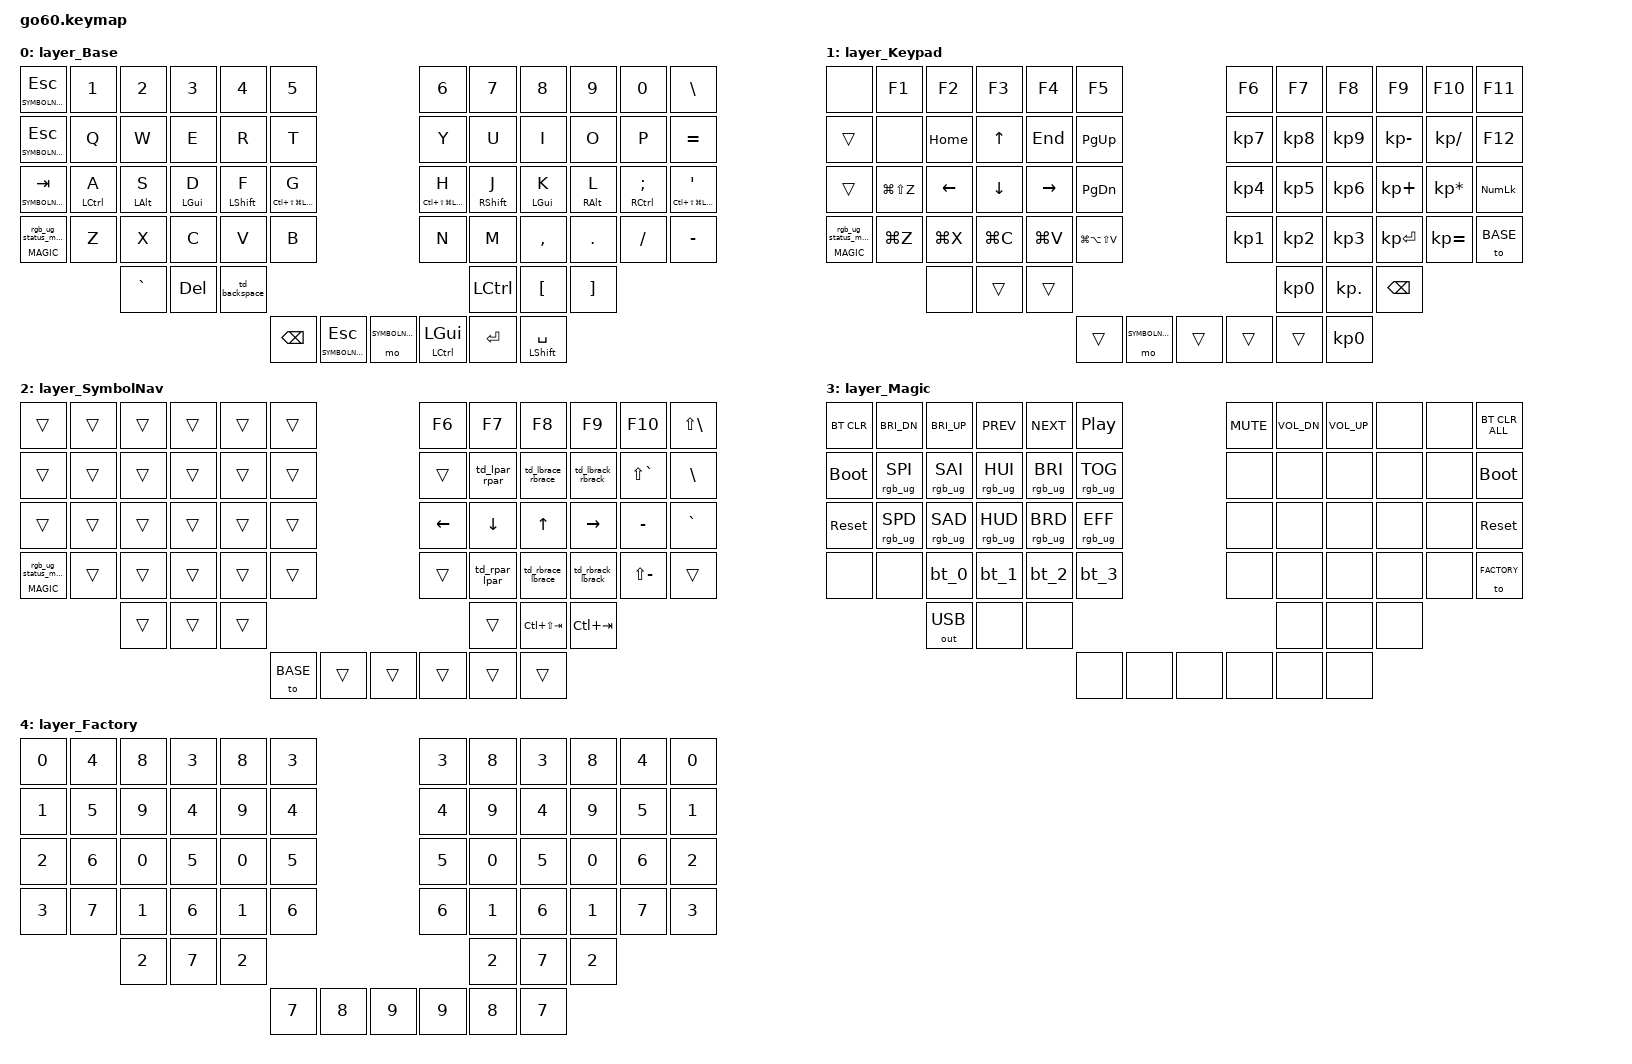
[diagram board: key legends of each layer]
/*
 * Copyright (c) 2020 The ZMK Contributors
 * Copyright (c) 2025 Innaworks Development Limited, trading as MoErgo
 *
 * SPDX-License-Identifier: MIT
 */

/*
 * Go60 Keymap - Adapted from Glove80 configuration
 *
 * Key features:
 * - Home row mods (Miryoku-style)
 * - Tap-dance for brackets
 * - Delete word macro
 * - Integrated trackpad support
 */

#include <behaviors.dtsi>
#include <dt-bindings/zmk/keys.h>
#include <dt-bindings/zmk/bt.h>
#include <dt-bindings/zmk/outputs.h>
#include <dt-bindings/zmk/rgb.h>

#include <input/processors.dtsi>
#include <dt-bindings/zmk/input_transform.h>
#include <zephyr/dt-bindings/input/input-event-codes.h>
#include <dt-bindings/zmk/pointing.h>

#define HYPER LC(LS(LG(LALT)))

// Layers
#define BASE 0
#define KEYPAD 1
#define SYMBOLNAV 2
#define MAGIC 3
#define FACTORY 4

// Timing parameters for home row mods
#define TYPING_STREAK_TERM 175
#define KEY_REPEATING_TERM 300
#define REGISTER_MODS_TERM 280
#define THUMB_TAPPING_TERM 200
#define INDEX_SHIFT_TAPPING_TERM 220
#define PRIOR_IDLE 150

// Go60 Key positions (60 keys)
// Row 1:  0  1  2  3  4  5  |  6  7  8  9 10 11
// Row 2: 12 13 14 15 16 17  | 18 19 20 21 22 23
// Row 3: 24 25 26 27 28 29  | 30 31 32 33 34 35
// Row 4: 36 37 38 39 40 41  | 42 43 44 45 46 47
// Row 5:       48 49 50     |    51 52 53
// Thumbs:         54 55 56  | 57 58 59

#define LEFT_HAND_KEYS      \
     0  1  2  3  4  5       \
    12 13 14 15 16 17       \
    24 25 26 27 28 29       \
    36 37 38 39 40 41       \
          48 49 50

#define RIGHT_HAND_KEYS     \
     6  7  8  9 10 11       \
    18 19 20 21 22 23       \
    30 31 32 33 34 35       \
    42 43 44 45 46 47       \
          51 52 53

#define THUMB_KEYS          \
    54 55 56 57 58 59

/* Helper Macros */
#define ZMK_BEHAVIOR_CORE_tap_dance  \
    compatible = "zmk,behavior-tap-dance"; \
    #binding-cells = <0>

#define ZMK_BEHAVIOR(name, type, ...) \
    name: name { \
        ZMK_BEHAVIOR_CORE_ ## type; \
        __VA_ARGS__ \
    };

#define ZMK_TAP_DANCE(name, ...) \
    ZMK_BEHAVIOR(name, tap_dance, __VA_ARGS__)

#define ZMK_TD_LAYER(name, layer) \
    ZMK_TAP_DANCE(name, \
        tapping-term-ms = <200>; \
        bindings = <&mo layer>, <&to layer>; \
)

/* Input processors for trackpad */
/ {
    input_processors {
        zip_click_to_right_click_mapper: zip_click_to_right_click_mapper {
            compatible = "zmk,input-processor-code-mapper";
            #input-processor-cells = <0>;
            type = <INPUT_EV_KEY>;
            map = <INPUT_BTN_0 INPUT_BTN_1>;
        };
    };
};

/* Trackpad Configuration */
&cirque_rh_listener {
    input-processors = <&zip_xy_scaler 3 1>;
    layer_symbolnav {
        layers = <SYMBOLNAV>;
        input-processors = <&zip_xy_scaler 9 1>;  // 3x faster on nav layer
    };
};

&cirque_lh_listener {
    input-processors = <&zip_xy_to_scroll_mapper>, <&zip_xy_scaler 11 12>, <&zip_click_to_right_click_mapper>, <&zip_scroll_scaler 1 8>, <&zip_scroll_transform (INPUT_TRANSFORM_Y_INVERT)>;
    layer_factory {
        layers = <FACTORY>;
        input-processors = <&zip_xy_scaler 3 1>;  // Pointer mode in factory layer
    };
};

/ {
    behaviors {
        // Home row mods with balanced flavor - LEFT HAND
        homey_left: miryoku_home_row_mods_left_hand {
            compatible = "zmk,behavior-hold-tap";
            label = "HOME_ROW_MODS_LEFT_HAND";
            flavor = "balanced";
            hold-trigger-key-positions = <RIGHT_HAND_KEYS THUMB_KEYS>;
            hold-trigger-on-release;
            tapping-term-ms = <REGISTER_MODS_TERM>;
            quick-tap-ms = <KEY_REPEATING_TERM>;
            require-prior-idle-ms = <PRIOR_IDLE>;
            #binding-cells = <2>;
            bindings = <&kp>, <&kp>;
        };

        // Home row mods with balanced flavor - RIGHT HAND
        homey_right: miryoku_home_row_mods_right_hand {
            compatible = "zmk,behavior-hold-tap";
            label = "HOME_ROW_MODS_RIGHT_HAND";
            flavor = "balanced";
            hold-trigger-key-positions = <LEFT_HAND_KEYS THUMB_KEYS>;
            hold-trigger-on-release;
            tapping-term-ms = <REGISTER_MODS_TERM>;
            quick-tap-ms = <KEY_REPEATING_TERM>;
            require-prior-idle-ms = <PRIOR_IDLE>;
            #binding-cells = <2>;
            bindings = <&kp>, <&kp>;
        };

        // Special handling for index finger shifts - LEFT
        index_left: miryoku_home_row_mods_left_index_shift {
            compatible = "zmk,behavior-hold-tap";
            label = "HOME_ROW_MODS_LEFT_INDEX_SHIFT";
            flavor = "balanced";
            hold-trigger-key-positions = <RIGHT_HAND_KEYS THUMB_KEYS>;
            hold-trigger-on-release;
            tapping-term-ms = <INDEX_SHIFT_TAPPING_TERM>;
            quick-tap-ms = <KEY_REPEATING_TERM>;
            require-prior-idle-ms = <PRIOR_IDLE>;
            #binding-cells = <2>;
            bindings = <&kp>, <&kp>;
        };

        // Special handling for index finger shifts - RIGHT
        index_right: miryoku_home_row_mods_right_index_shift {
            compatible = "zmk,behavior-hold-tap";
            label = "HOME_ROW_MODS_RIGHT_INDEX_SHIFT";
            flavor = "balanced";
            hold-trigger-key-positions = <LEFT_HAND_KEYS THUMB_KEYS>;
            hold-trigger-on-release;
            tapping-term-ms = <INDEX_SHIFT_TAPPING_TERM>;
            quick-tap-ms = <KEY_REPEATING_TERM>;
            require-prior-idle-ms = <PRIOR_IDLE>;
            #binding-cells = <2>;
            bindings = <&kp>, <&kp>;
        };

        // Thumb layer switching with repeat
        thumb: miryoku_thumb_layer {
            compatible = "zmk,behavior-hold-tap";
            label = "MIRYOKU_LAYER_TAP_WITH_REPEAT";
            flavor = "balanced";
            tapping-term-ms = <THUMB_TAPPING_TERM>;
            quick-tap-ms = <KEY_REPEATING_TERM>;
            #binding-cells = <2>;
            bindings = <&mo>, <&kp>;
        };

        // Magic hold-tap for RGB status
        magic: magic_hold_tap {
            compatible = "zmk,behavior-hold-tap";
            label = "MAGIC_HOLD_TAP";
            #binding-cells = <2>;
            flavor = "tap-preferred";
            tapping-term-ms = <200>;
            bindings = <&mo>, <&rgb_ug_status_macro>;
        };

        // Hyper key with delay to prevent accidental triggers
        hyper_ht: hyper_hold_tap {
            compatible = "zmk,behavior-hold-tap";
            label = "HYPER_HOLD_TAP";
            #binding-cells = <2>;
            flavor = "tap-preferred";
            tapping-term-ms = <250>;
            quick-tap-ms = <150>;
            require-prior-idle-ms = <150>;
            bindings = <&kp>, <&kp>;
        };

        // Tap-dance for brackets/braces
        td_lbrace_rbrace: tap_dance_lbrace_rbrace {
            compatible = "zmk,behavior-tap-dance";
            label = "TD_LBRACE_RBRACE";
            #binding-cells = <0>;
            tapping-term-ms = <200>;
            bindings = <&kp LS(LBKT)>, <&kp LS(RBKT)>;
        };

        td_lbrack_rbrack: tap_dance_lbrack_rbrack {
            compatible = "zmk,behavior-tap-dance";
            label = "TD_LBRACK_RBRACK";
            #binding-cells = <0>;
            tapping-term-ms = <200>;
            bindings = <&kp LBKT>, <&kp RBKT>;
        };

        td_rbrace_lbrace: tap_dance_rbrace_lbrace {
            compatible = "zmk,behavior-tap-dance";
            label = "TD_RBRACE_LBRACE";
            #binding-cells = <0>;
            tapping-term-ms = <200>;
            bindings = <&kp LS(RBKT)>, <&kp LS(LBKT)>;
        };

        td_rbrack_lbrack: tap_dance_rbrack_lbrack {
            compatible = "zmk,behavior-tap-dance";
            label = "TD_RBRACK_LBRACK";
            #binding-cells = <0>;
            tapping-term-ms = <200>;
            bindings = <&kp RBKT>, <&kp LBKT>;
        };

        // Tap dance for backspace (single tap: backspace, double tap: delete word)
        td_backspace: tap_dance_backspace {
            compatible = "zmk,behavior-tap-dance";
            label = "TD_BACKSPACE";
            #binding-cells = <0>;
            tapping-term-ms = <200>;
            bindings = <&kp BSPC>, <&del_word>;
        };

        // Tap dance for parentheses: ( )
        td_lpar_rpar: tap_dance_lpar_rpar {
            compatible = "zmk,behavior-tap-dance";
            label = "TD_LPAR_RPAR";
            #binding-cells = <0>;
            tapping-term-ms = <200>;
            bindings = <&kp LS(N9)>, <&kp LS(N0)>;
        };

        // Tap dance for parentheses: ) (
        td_rpar_lpar: tap_dance_rpar_lpar {
            compatible = "zmk,behavior-tap-dance";
            label = "TD_RPAR_LPAR";
            #binding-cells = <0>;
            tapping-term-ms = <200>;
            bindings = <&kp LS(N0)>, <&kp LS(N9)>;
        };

        // Fast space bar with shift mod-tap
        // balanced flavor + retro-tap: releasing hold without another key still emits space
        // generous quick-tap prevents stuck state on rapid hold→release→tap sequences
        space_mt: space_mod_tap {
            compatible = "zmk,behavior-hold-tap";
            label = "SPACE_MOD_TAP";
            flavor = "balanced";
            tapping-term-ms = <200>;
            quick-tap-ms = <200>;
            retro-tap;
            #binding-cells = <2>;
            bindings = <&kp>, <&kp>;
        };

        // Layer tap-dances
        ZMK_TD_LAYER(td_keypad, KEYPAD)
        ZMK_TD_LAYER(td_symbolnav, SYMBOLNAV)
    };

    macros {
        rgb_ug_status_macro: rgb_ug_status_macro {
            label = "RGB_UG_STATUS";
            compatible = "zmk,behavior-macro";
            #binding-cells = <0>;
            bindings = <&rgb_ug RGB_STATUS>;
        };

        bt_0: bt_profile_macro_0 {
            label = "BT_0";
            compatible = "zmk,behavior-macro";
            #binding-cells = <0>;
            bindings = <&out OUT_BLE>, <&bt BT_SEL 0>;
        };

        bt_1: bt_profile_macro_1 {
            label = "BT_1";
            compatible = "zmk,behavior-macro";
            #binding-cells = <0>;
            bindings = <&out OUT_BLE>, <&bt BT_SEL 1>;
        };

        bt_2: bt_profile_macro_2 {
            label = "BT_2";
            compatible = "zmk,behavior-macro";
            #binding-cells = <0>;
            bindings = <&out OUT_BLE>, <&bt BT_SEL 2>;
        };

        bt_3: bt_profile_macro_3 {
            label = "BT_3";
            compatible = "zmk,behavior-macro";
            #binding-cells = <0>;
            bindings = <&out OUT_BLE>, <&bt BT_SEL 3>;
        };

        del_word: macro_del_word {
            compatible = "zmk,behavior-macro";
            label = "MACRO_DEL_WORD";
            #binding-cells = <0>;
            wait-ms = <0>;
            tap-ms = <0>;
            bindings = <&macro_press &kp LALT>, <&macro_tap &kp BSPC>, <&macro_release &kp LALT>;
        };
    };

    keymap {
        compatible = "zmk,keymap";

        layer_Base {
            // ┌──────┬──────┬──────┬──────┬──────┬──────┐                    ┌──────┬──────┬──────┬──────┬──────┬──────┐
            // │ ESC  │  1   │  2   │  3   │  4   │  5   │                    │  6   │  7   │  8   │  9   │  0   │  \   │
            // │(SYM) │      │      │      │      │      │                    │      │      │      │      │      │      │
            // ├──────┼──────┼──────┼──────┼──────┼──────┤                    ├──────┼──────┼──────┼──────┼──────┼──────┤
            // │ TAB  │  Q   │  W   │  E   │  R   │  T   │                    │  Y   │  U   │  I   │  O   │  P   │  =   │
            // │(SYM) │      │      │      │      │      │                    │      │      │      │      │      │      │
            // ├──────┼──────┼──────┼──────┼──────┼──────┤                    ├──────┼──────┼──────┼──────┼──────┼──────┤
            // │ ESC  │  A   │  S   │  D   │  F   │  G   │                    │  H   │  J   │  K   │  L   │  ;   │  '   │
            // │(SYM) │ CTRL │ ALT  │ GUI  │ SHFT │HYPER │                    │HYPER │ SHFT │ GUI  │ ALT  │ CTRL │      │
            // ├──────┼──────┼──────┼──────┼──────┼──────┤                    ├──────┼──────┼──────┼──────┼──────┼──────┤
            // │MAGIC │  Z   │  X   │  C   │  V   │  B   │                    │  N   │  M   │  ,   │  .   │  /   │  -   │
            // └──────┴──────┼──────┼──────┼──────┼──────┘                    └──────┼──────┼──────┼──────┼──────┴──────┘
            //               │  `   │ DEL  │ BSPC │                                  │ LCTRL│  [   │  ]   │
            //               └──────┴──────┴──────┘                                  └──────┴──────┴──────┘
            //                             ┌──────┬──────┬──────┐  ┌──────┬──────┬──────┐
            //                             │ BSPC │ ESC  │ SYM  │  │ GUI  │ RET  │ SPACE│
            //                             │      │(SYM) │      │  │ CTRL │      │      │
            //                             └──────┴──────┴──────┘  └──────┴──────┴──────┘
            bindings = <
            &lt SYMBOLNAV ESC   &kp N1              &kp N2              &kp N3              &kp N4               &kp N5                                                   &kp N6               &kp N7              &kp N8              &kp N9               &kp N0                 &kp BSLH
            &lt SYMBOLNAV ESC  &kp Q               &kp W               &kp E               &kp R                &kp T                                                    &kp Y                &kp U               &kp I               &kp O                &kp P                  &kp EQUAL
            &lt SYMBOLNAV TAB  &homey_left LCTRL A &homey_left LALT S  &homey_left LGUI D  &index_left LSHFT F  &hyper_ht HYPER G                                        &hyper_ht HYPER H    &index_right RSHFT J &homey_right LGUI K &homey_right RALT L  &homey_right RCTRL SEMI &hyper_ht HYPER SQT
            &magic MAGIC 0     &kp Z               &kp X               &kp C               &kp V                &kp B                                                    &kp N                &kp M               &kp COMMA           &kp DOT              &kp FSLH               &kp MINUS
                                                   &kp GRAVE           &kp DEL             &td_backspace                                                                                      &kp LCTRL           &kp LBKT            &kp RBKT
                                                                                                                &kp BSPC  &lt SYMBOLNAV ESC  &mo SYMBOLNAV  &mt LCTRL LGUI  &kp RET  &space_mt LSHFT SPACE
            >;
        };

        layer_Keypad {
            // Numbers + Function keys + Navigation
            // ┌──────┬──────┬──────┬──────┬──────┬──────┐                    ┌──────┬──────┬──────┬──────┬──────┬──────┐
            // │      │  F1  │  F2  │  F3  │  F4  │  F5  │                    │  F6  │  F7  │  F8  │  F9  │ F10  │ F11  │
            // ├──────┼──────┼──────┼──────┼──────┼──────┤                    ├──────┼──────┼──────┼──────┼──────┼──────┤
            // │      │      │ HOME │  UP  │ END  │ PGUP │                    │  7   │  8   │  9   │  -   │  /   │ F12  │
            // ├──────┼──────┼──────┼──────┼──────┼──────┤                    ├──────┼──────┼──────┼──────┼──────┼──────┤
            // │      │ REDO │ LEFT │ DOWN │RIGHT │ PGDN │                    │  4   │  5   │  6   │  +   │  *   │NUMLK │
            // ├──────┼──────┼──────┼──────┼──────┼──────┤                    ├──────┼──────┼──────┼──────┼──────┼──────┤
            // │MAGIC │ UNDO │ CUT  │ COPY │PASTE │PSTMAT│                    │  1   │  2   │  3   │ENTER │  =   │ BASE │
            // └──────┴──────┼──────┼──────┼──────┼──────┘                    └──────┼──────┼──────┼──────┼──────┴──────┘
            //               │      │      │      │                                  │  0   │  .   │ BSPC │
            //               └──────┴──────┴──────┘                                  └──────┴──────┴──────┘
            //                             ┌──────┬──────┬──────┐  ┌──────┬──────┬──────┐
            //                             │      │ SYM  │      │  │      │      │  0   │
            //                             └──────┴──────┴──────┘  └──────┴──────┴──────┘
            bindings = <
            &none              &kp F1              &kp F2              &kp F3              &kp F4               &kp F5                                                   &kp F6               &kp F7              &kp F8              &kp F9               &kp F10                &kp F11
            &trans             &none               &kp HOME            &kp UP              &kp END              &kp PG_UP                                                &kp KP_N7            &kp KP_N8           &kp KP_N9           &kp KP_MINUS         &kp KP_SLASH           &kp F12
            &trans             &kp LG(LS(Z))       &kp LEFT            &kp DOWN            &kp RIGHT            &kp PG_DN                                                &kp KP_N4            &kp KP_N5           &kp KP_N6           &kp KP_PLUS          &kp KP_MULTIPLY        &kp KP_NUM
            &magic MAGIC 0     &kp LG(Z)           &kp LG(X)           &kp LG(C)           &kp LG(V)            &kp LG(LA(LS(V)))                                        &kp KP_N1            &kp KP_N2           &kp KP_N3           &kp KP_ENTER         &kp KP_EQUAL           &to BASE
                                                   &none               &trans              &trans                                                                                            &kp KP_N0           &kp KP_DOT          &kp BSPC
                                                                                                                &trans  &mo SYMBOLNAV  &trans  &trans  &trans  &kp KP_N0
            >;
        };

        layer_SymbolNav {
            // Symbols + Extended Navigation (Glove80-style)
            // ┌──────┬──────┬──────┬──────┬──────┬──────┐                    ┌──────┬──────┬──────┬──────┬──────┬──────┐
            // │ INS  │  F1  │  F2  │  F3  │  F4  │  F5  │                    │  F6  │  F7  │  F8  │  F9  │ F10  │  |   │
            // ├──────┼──────┼──────┼──────┼──────┼──────┤                    ├──────┼──────┼──────┼──────┼──────┼──────┤
            // │SCRLK │  !   │ HOME │  UP  │ END  │ PGUP │                    │      │ ( )  │ { }  │ [ ]  │  ~   │  \   │
            // ├──────┼──────┼──────┼──────┼──────┼──────┤                    ├──────┼──────┼──────┼──────┼──────┼──────┤
            // │ CAPS │  @   │ LEFT │ DOWN │RIGHT │ PGDN │                    │  ←   │  ↓   │  ↑   │  →   │  -   │  `   │
            // ├──────┼──────┼──────┼──────┼──────┼──────┤                    ├──────┼──────┼──────┼──────┼──────┼──────┤
            // │MAGIC │  #   │  [   │  ]   │  {   │  }   │                    │      │ ) (  │ } {  │ ] [  │  _   │      │
            // └──────┴──────┼──────┼──────┼──────┼──────┘                    └──────┼──────┼──────┼──────┼──────┴──────┘
            //               │  ^   │      │      │                                  │      │TAB-L │TAB-R │
            //               └──────┴──────┴──────┘                                  └──────┴──────┴──────┘
            //                             ┌──────┬──────┬──────┐  ┌──────┬──────┬──────┐
            //                             │ BASE │      │      │  │      │      │      │
            //                             └──────┴──────┴──────┘  └──────┴──────┴──────┘
            bindings = <
            &trans             &trans              &trans              &trans              &trans               &trans                                                   &kp F6               &kp F7              &kp F8              &kp F9               &kp F10                &kp LS(BSLH)
            &trans             &trans              &trans              &trans              &trans               &trans                                                   &trans               &td_lpar_rpar       &td_lbrace_rbrace   &td_lbrack_rbrack    &kp LS(GRAVE)          &kp BSLH
            &trans             &trans              &trans              &trans              &trans               &trans                                                   &kp LEFT             &kp DOWN            &kp UP              &kp RIGHT            &kp MINUS              &kp GRAVE
            &magic MAGIC 0     &trans              &trans              &trans              &trans               &trans                                                   &trans               &td_rpar_lpar       &td_rbrace_lbrace   &td_rbrack_lbrack    &kp LS(MINUS)          &trans
                                                   &trans              &trans              &trans                                                                                            &trans              &kp LC(LS(TAB))     &kp LC(TAB)
                                                                                                                &to BASE  &trans  &trans  &trans  &trans  &trans
            >;
        };

        layer_Magic {
            // System controls: Bluetooth, RGB, Media, Bootloader
            // ┌──────┬──────┬──────┬──────┬──────┬──────┐                    ┌──────┬──────┬──────┬──────┬──────┬──────┐
            // │BT_CLR│BRI_DN│BRI_UP│ PREV │ NEXT │ PLAY │                    │ MUTE │VOL_DN│VOL_UP│      │      │BT_ALL│
            // ├──────┼──────┼──────┼──────┼──────┼──────┤                    ├──────┼──────┼──────┼──────┼──────┼──────┤
            // │ BOOT │RGB_SP│RGB_SA│RGB_HU│RGB_BR│RGB_TG│                    │      │      │      │      │      │ BOOT │
            // ├──────┼──────┼──────┼──────┼──────┼──────┤                    ├──────┼──────┼──────┼──────┼──────┼──────┤
            // │RESET │RGB_SP│RGB_SA│RGB_HU│RGB_BR│RGB_EF│                    │      │      │      │      │      │RESET │
            // ├──────┼──────┼──────┼──────┼──────┼──────┤                    ├──────┼──────┼──────┼──────┼──────┼──────┤
            // │      │      │ BT_0 │ BT_1 │ BT_2 │ BT_3 │                    │      │      │      │      │      │FACTRY│
            // └──────┴──────┼──────┼──────┼──────┼──────┘                    └──────┼──────┼──────┼──────┼──────┴──────┘
            //               │ USB  │      │      │                                  │      │      │      │
            //               └──────┴──────┴──────┘                                  └──────┴──────┴──────┘
            //                             ┌──────┬──────┬──────┐  ┌──────┬──────┬──────┐
            //                             │      │      │      │  │      │      │      │
            //                             └──────┴──────┴──────┘  └──────┴──────┴──────┘
            bindings = <
            &bt BT_CLR         &kp C_BRI_DN        &kp C_BRI_UP        &kp C_PREV          &kp C_NEXT           &kp C_PP                                                 &kp C_MUTE           &kp C_VOL_DN        &kp C_VOL_UP        &none                &none                  &bt BT_CLR_ALL
            &bootloader        &rgb_ug RGB_SPI     &rgb_ug RGB_SAI     &rgb_ug RGB_HUI     &rgb_ug RGB_BRI      &rgb_ug RGB_TOG                                          &none                &none               &none               &none                &none                  &bootloader
            &sys_reset         &rgb_ug RGB_SPD     &rgb_ug RGB_SAD     &rgb_ug RGB_HUD     &rgb_ug RGB_BRD      &rgb_ug RGB_EFF                                          &none                &none               &none               &none                &none                  &sys_reset
            &none              &none               &bt_0               &bt_1               &bt_2                &bt_3                                                    &none                &none               &none               &none                &none                  &to FACTORY
                                                   &out OUT_USB        &none               &none                                                                                              &none               &none               &none
                                                                                                                &none  &none  &none  &none  &none  &none
            >;
        };

        layer_Factory {
            // Factory test layer - outputs key positions for testing
            bindings = <
            &kp N0  &kp N4  &kp N8  &kp N3  &kp N8  &kp N3                                                  &kp N3  &kp N8  &kp N3  &kp N8  &kp N4  &kp N0
            &kp N1  &kp N5  &kp N9  &kp N4  &kp N9  &kp N4                                                  &kp N4  &kp N9  &kp N4  &kp N9  &kp N5  &kp N1
            &kp N2  &kp N6  &kp N0  &kp N5  &kp N0  &kp N5                                                  &kp N5  &kp N0  &kp N5  &kp N0  &kp N6  &kp N2
            &kp N3  &kp N7  &kp N1  &kp N6  &kp N1  &kp N6                                                  &kp N6  &kp N1  &kp N6  &kp N1  &kp N7  &kp N3
                            &kp N2  &kp N7  &kp N2                                                                  &kp N2  &kp N7  &kp N2
                                                            &kp N7  &kp N8  &kp N9  &kp N9  &kp N8  &kp N7
            >;
        };

    };
};
